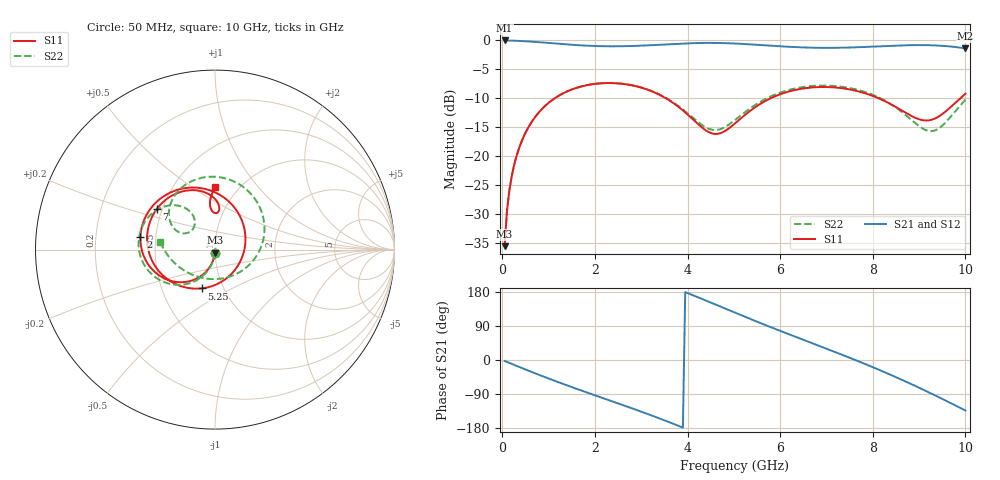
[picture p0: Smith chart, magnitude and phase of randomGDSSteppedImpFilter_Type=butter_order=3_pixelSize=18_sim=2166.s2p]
! freq	dB(S11)	phase(S11)	dB(S12)	phase(S12)
!  dB(S21)	phase(S21)	dB(S22)	phase(S22)
!S-par simulation data
#  GHz  S  DB  R 50
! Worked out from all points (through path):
!   200 points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, 50 MHz to 10 GHz, reference 50 ohm
!   highest |S21| = -0.01 dB at 50 MHz (marker M1); lowest = -1.4 dB at 10 GHz (marker M2)
!   group delay of S21, straight-line fit = 134 ps
!   lowest |S11| = -35.6 dB at 50 MHz (marker M3), VSWR 1.03, Z = 49.9 - j1.66 ohm
!   |S11| at or under -10 dB: start of sweep to 1.133 GHz; 3.532 GHz to 5.795 GHz (2.263 GHz wide, 48.5 % of centre); 8.125 GHz to 9.89 GHz (1.765 GHz wide, 19.6 % of centre)
!   |S22| runs from -35.6 to -7.4 dB; largest |S21 - S12| = 0
!   S11 on the Smith chart (normalised r, x): 50 MHz: 1.00, -0.03; 2 GHz: 0.41, +0.07; 5.25 GHz: 0.79, -0.36; 7 GHz: 0.47, +0.25; 10 GHz: 0.79, +0.62
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0.05  -35.57 -92.6  -0.01 -2.6  -0.01 -2.6  -35.57 -92.4
0.1  -29.57 -95.4  -0.01 -5.1  -0.01 -5.1  -29.57 -95.0
0.2  -23.63 -100.9  -0.03 -10.1  -0.03 -10.1  -23.63 -100.0
0.5  -15.98 -116.6  -0.14 -25.0  -0.14 -25.0  -15.98 -114.4
1.1  -10.18 -146.7  -0.50 -53.5  -0.50 -53.5  -10.18 -141.5
1.75  -7.87 -177.6  -0.88 -82.4  -0.88 -82.4  -7.87 -168.4
2  -7.52 170.7  -0.96 -93.1  -0.96 -93.1  -7.51 -178.1
2.7  -7.62 136.8  -0.99 -123.1  -0.99 -123.1  -7.60 156.1
3.4  -9.42 97.5  -0.74 -154.5  -0.74 -154.5  -9.36 133.4
4.2  -14.27 30.4  -0.45 166.8  -0.45 166.8  -13.93 124.4
4.6  -16.17 -26.3  -0.43 146.5  -0.43 146.5  -15.49 139.3
5.05  -14.17 -88.8  -0.54 123.6  -0.54 123.6  -13.60 153.8
5.25  -12.81 -109.1  -0.63 113.5  -0.63 113.5  -12.35 153.7
5.95  -9.46 -159.7  -0.99 79.3  -0.99 79.3  -9.17 136.5
6.7  -8.13 159.9  -1.26 44.0  -1.26 44.0  -7.88 107.0
7  -8.06 145.4  -1.28 29.9  -1.28 29.9  -7.81 93.6
7.7  -8.83 114.2  -1.17 -3.8  -1.17 -3.8  -8.60 58.6
8.35  -10.86 90.8  -0.95 -37.2  -0.95 -37.2  -10.82 17.7
8.8  -12.91 84.0  -0.82 -61.8  -0.82 -61.8  -13.50 -22.2
9.2  -13.82 90.0  -0.82 -84.8  -0.82 -84.8  -15.64 -77.2
9.6  -12.10 96.3  -0.99 -108.7  -0.99 -108.7  -13.94 -141.4
10  -9.21 89.6  -1.39 -133.3  -1.39 -133.3  -10.24 172.3
